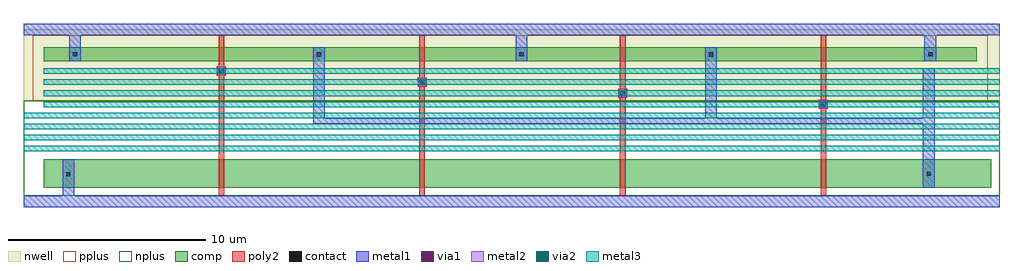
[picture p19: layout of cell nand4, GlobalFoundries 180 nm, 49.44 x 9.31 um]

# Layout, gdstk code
import gdstk
lib = gdstk.Library(unit=1e-6, precision=5e-09)
def R(c, l, rs):  # rectangles x0, y0, x1, y1
    for r in rs: c.add(gdstk.rectangle(r[:2], r[2:], *l))
def A(c, l, x, y, w, h, nx, ny, dx, dy):  # array of equal rectangles
    R(c, l, [(x+i*dx, y+j*dy, x+i*dx+w, y+j*dy+h) for i in range(nx) for j in range(ny)])
nwell = (21, 0)
comp = (22, 0)
poly2 = (30, 0)
pplus = (31, 0)
nplus = (32, 0)
contact = (33, 0)
metal1 = (34, 0)
via1 = (35, 0)
metal2 = (36, 0)
via2 = (38, 0)
metal3 = (42, 0)

nand4 = lib.new_cell('nand4')
R(nand4, nwell, [(-25.06,-1,24.38,2.6)])
R(nand4, comp, [(-24.03,-5.415,23.96,-3.975), (-24.03,0.98,23.24,1.7)])
A(nand4, poly2, -15.175, -5.815, 0.28, 8.115, 4, 1, 10.165, 0)
R(nand4, poly2, [(15.235,-1.425,15.69,-0.96), (5.07,-0.865,5.525,-0.4), (-5.1,-0.3,-4.645,0.165), (-15.26,0.26,-14.805,0.725)])
R(nand4, pplus, [(-24.595,-1,23.78,2.3)])
R(nand4, nplus, [(-25.06,-5.815,24.38,-1)])
R(nand4, contact, [(-22.9,-4.845,-22.68,-4.625), (20.685,-4.82,20.905,-4.6), (15.35,-1.3,15.57,-1.08), (5.185,-0.74,5.405,-0.52), (-4.98,-0.175,-4.76,0.045), (-15.145,0.385,-14.925,0.605), (-10.205,1.225,-9.985,1.445), (9.66,1.225,9.88,1.445), (-22.565,1.235,-22.345,1.455), (0.065,1.235,0.285,1.455), (20.77,1.235,20.99,1.455)])
R(nand4, metal1, [(-25.06,-6.415,24.38,-5.815), (-23.07,-6.41,-22.48,-3.975), (20.48,-5.415,21.11,0.63), (-10.375,-2.17,21.11,-1.9), (-10.375,-2.17,-9.81,1.7), (9.465,-2.17,10.045,1.7), (15.255,-1.41,15.66,-0.97), (5.09,-0.855,5.495,-0.415), (-5.075,-0.29,-4.67,0.15), (-15.24,0.275,-14.835,0.715), (-22.755,0.98,-22.165,2.7), (-0.125,0.98,0.465,2.7), (20.58,0.98,21.17,2.7), (-25.06,2.3,24.38,2.9)])
R(nand4, via1, [(15.33,-1.32,15.59,-1.06), (5.165,-0.76,5.425,-0.5), (-5,-0.195,-4.74,0.065), (-15.165,0.365,-14.905,0.625)])
R(nand4, metal2, [(15.255,-1.41,15.66,-0.97), (5.09,-0.855,5.495,-0.415), (-5.075,-0.29,-4.67,0.15), (-15.24,0.275,-14.835,0.715)])
R(nand4, via2, [(15.33,-1.32,15.59,-1.06), (5.165,-0.76,5.425,-0.5), (-5,-0.195,-4.74,0.065), (-15.165,0.365,-14.905,0.625)])
A(nand4, metal3, -25.06, -3.57, 49.44, 0.28, 1, 4, 0, 0.56)
R(nand4, metal3, [(-24.03,-1.33,24.38,-1.05), (-24.03,-0.77,24.38,-0.49), (-24.03,-0.205,24.38,0.075), (-24.03,0.355,24.38,0.635)])

lib.write_gds('nand4.gds')
